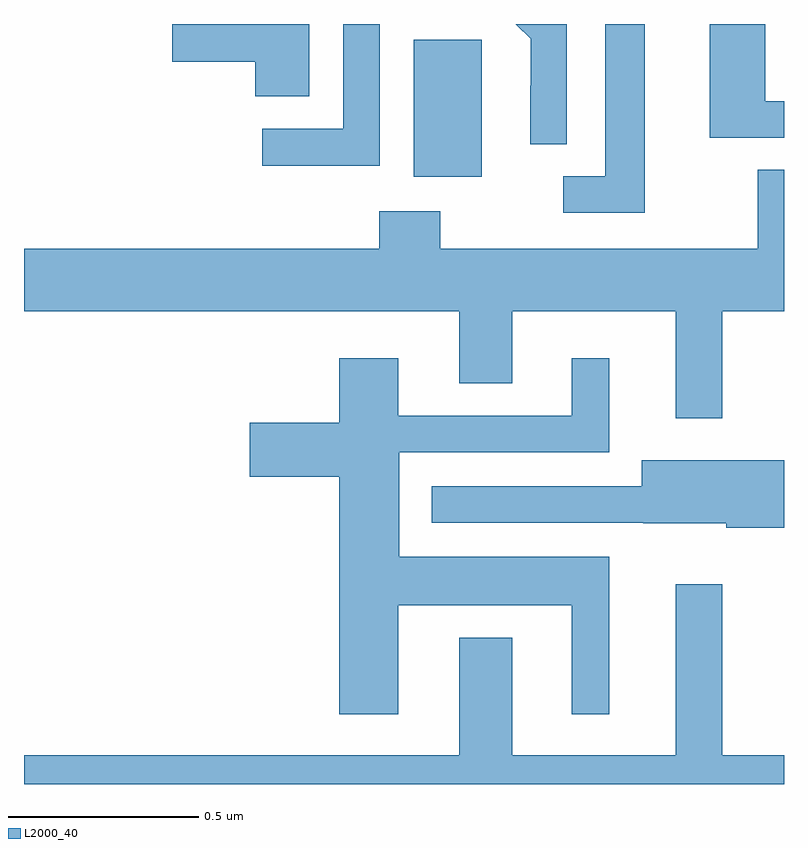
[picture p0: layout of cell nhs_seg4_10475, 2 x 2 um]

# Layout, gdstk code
import gdstk
lib = gdstk.Library(unit=1e-6, precision=1e-09)
def R(c, l, rs):  # rectangles x0, y0, x1, y1
    for r in rs: c.add(gdstk.rectangle(r[:2], r[2:], *l))
def P(c, l, *ps):  # polygons
    for p in ps: c.add(gdstk.Polygon(p, *l))
L2000_40 = (2000, 40)

nhs_seg4_10475 = lib.new_cell('nhs_seg4_10475')
R(nhs_seg4_10475, L2000_40, [(241.025,806.498,241.204,806.859)])
P(nhs_seg4_10475, L2000_40, [(240.936,806.9),(240.84,806.9),(240.84,806.625),(240.627,806.625),(240.627,806.527),(240.936,806.527)],
  [(241.428,806.9),(241.294,806.9),(241.334,806.861),(241.334,806.738),(241.332,806.738),(241.332,806.584),(241.428,806.584)],
  [(240.751,806.9),(240.39,806.9),(240.39,806.801),(240.608,806.801),(240.608,806.71),(240.751,806.71)],
  [(241.633,806.9),(241.529,806.9),(241.529,806.499),(241.419,806.499),(241.419,806.403),(241.633,806.403)],
  [(242,806.697),(241.95,806.697),(241.95,806.9),(241.805,806.9),(241.805,806.601),(242,806.601)],
  [(241.837,806.144),(242,806.144),(242,806.516),(241.931,806.516),(241.931,806.308),(241.095,806.308),(241.095,806.407),(240.935,806.407),(240.935,806.308),(240,806.308),(240,806.144),(241.145,806.144),(241.145,805.954),(241.285,805.954),(241.285,806.144),(241.715,806.144),(241.715,805.863),(241.837,805.863)],
  [(240.985,805.37),(241.442,805.37),(241.442,805.083),(241.54,805.083),(241.54,805.498),(240.988,805.498),(240.988,805.773),(241.54,805.773),(241.54,806.02),(241.442,806.02),(241.442,805.869),(240.985,805.869),(240.985,806.02),(240.83,806.02),(240.83,805.851),(240.594,805.851),(240.594,805.709),(240.83,805.709),(240.83,805.083),(240.985,805.083)],
  [(242,805.752),(241.625,805.752),(241.625,805.683),(241.073,805.683),(241.073,805.587),(241.629,805.587),(241.629,805.586),(241.848,805.586),(241.848,805.574),(242,805.574)],
  [(242,804.976),(241.837,804.976),(241.837,805.426),(241.715,805.426),(241.715,804.976),(241.285,804.976),(241.285,805.285),(241.145,805.285),(241.145,804.976),(240,804.976),(240,804.9),(242,804.9)])

lib.write_gds('nhs_seg4_10475.gds')
